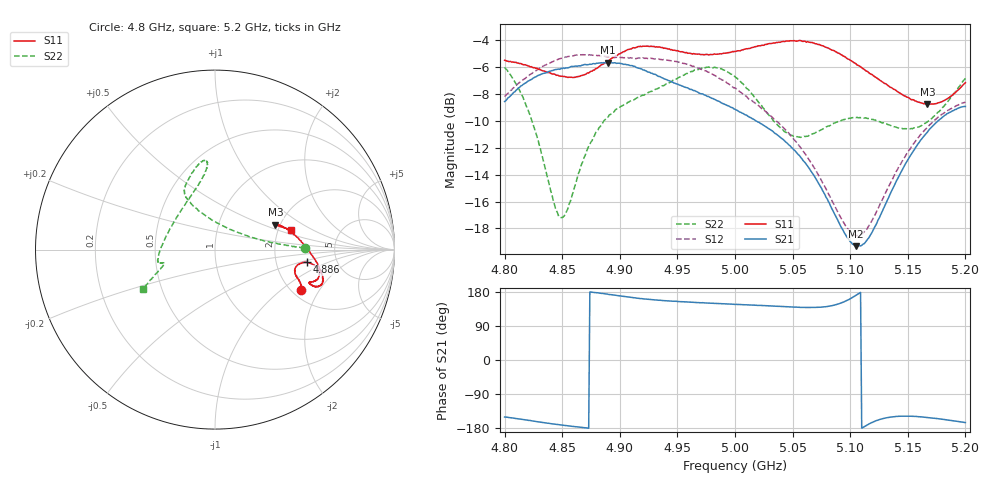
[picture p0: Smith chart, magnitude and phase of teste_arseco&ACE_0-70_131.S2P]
! Network Analyzer HP8722D
! Hewlett-Packard
! Data name: Linha & Wilkinson
! Saver's name: Rodrigo Anjos
! Comments: Teste da utilização de aquisição
! continua pelo VNA HP8722D
! Time and date: 8/5/2025 13:51
!  Frequency  S11  S21  S12  S22
# HZ  S  MA R 50
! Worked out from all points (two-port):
!   401 points, 4.8 GHz to 5.2 GHz, reference 50 ohm
!   highest |S21| = -5.68 dB at 4.89 GHz (marker M1); lowest = -19.3 dB at 5.105 GHz (marker M2)
!   |S21| within 3 dB of the highest: start of sweep to 4.988 GHz
!   lowest |S11| = -8.8 dB at 5.167 GHz (marker M3), VSWR 2.15, Z = 94.3 + j30.3 ohm
!   |S11| at or under -10 dB: nowhere
!   |S22| runs from -17.2 to -6.0 dB; largest |S21 - S12| = 1.1
!   S11 on the Smith chart (normalised r, x): 4.8 GHz: 2.23, -1.41; 4.886 GHz: 3.00, -0.57; 5.2 GHz: 2.35, +0.64
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4.8e9  0.5304 -25.3  0.3729 -150.4  0.389 9.0  0.4989 0.9
4.821e9  0.505 -20.7  0.4452 -159.4  0.4654 5.9  0.3407 6.1
4.847e9  0.4648 -16.4  0.4922 -170.7  0.5361 1.9  0.1394 54.2
4.854e9  0.4595 -14.7  0.4971 -173.3  0.5463 0.7  0.1464 82.3
4.867e9  0.4658 -10.9  0.5085 -178.0  0.5555 -1.3  0.2189 110.4
4.886e9  0.5149 -7.9  0.52 175.1  0.5501 -2.5  0.3153 118.5
4.89e9  0.5282 -8.0  0.5201 173.1  0.5475 -2.3  0.3271 118.8
4.913e9  0.5897 -11.7  0.5038 164.0  0.5392 -1.6  0.3799 116.2
4.934e9  0.5953 -16.2  0.4619 157.6  0.5367 -2.7  0.419 110.6
4.975e9  0.5579 -19.5  0.3921 150.5  0.4846 -6.2  0.4992 97.8
5e9  0.5722 -20.1  0.3492 146.6  0.4193 -6.2  0.4608 95.8
5.018e9  0.5963 -20.1  0.3161 144.6  0.3664 -3.7  0.3822 103.1
5.042e9  0.6236 -18.4  0.2691 141.0  0.2981 1.4  0.2913 129.1
5.067e9  0.6176 -13.9  0.2026 138.6  0.2178 8.9  0.2825 164.8
5.095e9  0.5483 -4.2  0.1211 154.0  0.1308 34.3  0.3195 -172.3
5.105e9  0.515 0.5  0.1082 170.7  0.1185 53.2  0.325 -169.0
5.116e9  0.4774 6.1  0.116 -169.4  0.1285 74.7  0.3225 -166.8
5.134e9  0.4235 14.9  0.1664 -151.1  0.1824 94.4  0.3051 -165.9
5.152e9  0.382 20.9  0.2337 -148.4  0.2482 100.3  0.2952 -164.6
5.167e9  0.3641 22.5  0.2869 -151.6  0.299 101.2  0.3134 -161.5
5.183e9  0.379 20.2  0.3328 -157.8  0.3424 101.1  0.3651 -157.1
5.2e9  0.438 14.6  0.3574 -165.1  0.3712 101.5  0.4544 -151.2
